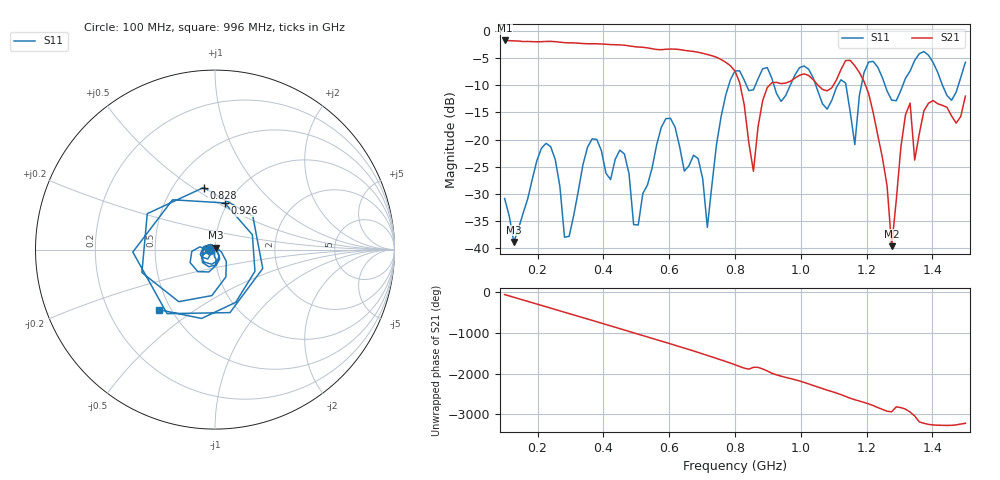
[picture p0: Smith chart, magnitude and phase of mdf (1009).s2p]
! NanoVNA-App
! Date: 2025-09-25 15:46:16
! Start: 100MHz Stop: 1,5GHz Points: 101
! S-Parameter data: F S11 S21 S12 S22
# Hz S RI R 50
!  Frequency  S11_Real  S11_Imag  S21_Real  S21_Imag  S12_Real  S12_Imag  S22_Real  S22_Imag
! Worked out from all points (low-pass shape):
!   101 points, 100 MHz to 1.5 GHz, reference 50 ohm
!   highest |S21| = -1.80 dB at 100 MHz (marker M1); lowest = -39.6 dB at 1.276 GHz (marker M2)
!   |S21| within 3 dB of the highest: start of sweep to 739.5 MHz
!   lowest |S11| = -38.8 dB at 128 MHz (marker M3), VSWR 1.02, Z = 50.4 + j1.09 ohm
!   |S11| at or under -10 dB: start of sweep to 781.1 MHz; 918.3 MHz to 968.1 MHz (49.83 MHz wide, 5.28 % of centre); 1.045 GHz to 1.113 GHz (67.17 MHz wide, 6.23 % of centre) (the widest 3 of 7)
!   S12 and S22 are empty: the file has one direction only
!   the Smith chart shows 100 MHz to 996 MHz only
!   S11 on the Smith chart (normalised r, x): 100 MHz: 0.94, -0.01; 828 MHz: 0.70, +0.55; 926 MHz: 0.97, +0.54; 996 MHz: 0.43, -0.37
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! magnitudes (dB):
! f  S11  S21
! 100 MHz  -30.8  -1.8
! 128 MHz  -38.8  -1.9
! 212 MHz  -21.6  -2.0
! 282 MHz  -37.9  -2.2
! 338 MHz  -24.6  -2.4
! 464 MHz  -22.7  -2.7
! 506 MHz  -35.7  -3.0
! 576 MHz  -17.8  -3.5
! 688 MHz  -23.5  -4.0
! 716 MHz  -36.1  -4.4
! 800 MHz  -7.4  -7.4
! 828 MHz  -9.1  -13.6
! 856 MHz  -10.9  -25.8
! 926 MHz  -11.5  -9.5
! 996 MHz  -6.8  -8.2
! 1.038 GHz  -8.7  -9.0
! 1.164 GHz  -20.9  -6.4
! 1.192 GHz  -7.7  -9.3
! 1.276 GHz  -12.8  -39.6
! 1.332 GHz  -7.4  -13.3
! 1.346 GHz  -5.5  -23.8
! 1.5 GHz  -5.8  -12.0
